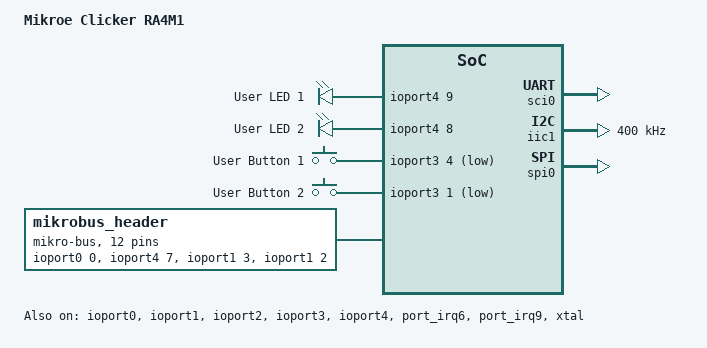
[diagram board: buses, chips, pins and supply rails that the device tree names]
/*
 * Copyright (c) 2024 Ian Morris
 *
 * SPDX-License-Identifier: Apache-2.0
 */

/dts-v1/;
#include <renesas/ra/ra4/r7fa4m1ab3cfm.dtsi>
#include <zephyr/dt-bindings/gpio/gpio.h>
#include <zephyr/dt-bindings/input/input-event-codes.h>

#include "mikroe_clicker_ra4m1-pinctrl.dtsi"

/ {
	model = "Mikroe Clicker RA4M1";
	compatible = "renesas,ra4m1", "renesas,ra";

	chosen {
		zephyr,console = &uart0;
		zephyr,shell-uart = &uart0;
		zephyr,sram = &sram0;
		zephyr,flash = &flash0;
	};

	leds {
		compatible = "gpio-leds";
		ld1: led_1 {
			gpios = <&ioport4 9 GPIO_ACTIVE_HIGH>;
			label = "User LED 1";
		};

		ld2: led_2 {
			gpios = <&ioport4 8 GPIO_ACTIVE_HIGH>;
			label = "User LED 2";
		};
	};

	buttons {
		compatible = "gpio-keys";
		btn1: button_1 {
			gpios = <&ioport3 4 GPIO_ACTIVE_LOW>;
			label = "User Button 1";
			zephyr,code = <INPUT_KEY_0>;
		};

		btn2: button_2 {
			gpios = <&ioport3 1 GPIO_ACTIVE_LOW>;
			label = "User Button 2";
			zephyr,code = <INPUT_KEY_1>;
		};
	};

	mikrobus_header: mikrobus-connector {
		compatible = "mikro-bus";
		#gpio-cells = <2>;
		gpio-map-mask = <0xffffffff 0xffffffc0>;
		gpio-map-pass-thru = <0 0x3f>;
		gpio-map =	<0 0 &ioport0 0 0>,	/* AN  */
				<1 0 &ioport4 7 0>,		/* RST */
				<2 0 &ioport1 3 0>,		/* CS   */
				<3 0 &ioport1 2 0>,		/* SCK  */
				<4 0 &ioport1 0 0>,		/* MISO */
				<5 0 &ioport1 1 0>,		/* MOSI */
							/* +3.3V */
							/* GND */
				<6 0 &ioport1 7 0>,		/* PWM  */
				<7 0 &ioport3 2 0>,		/* INT  */
				<8 0 &ioport4 10 0>,	/* RX   */
				<9 0 &ioport4 11 0>,	/* TX   */
				<10 0 &ioport2 5 0>,	/* SCL  */
				<11 0 &ioport2 6 0>;	/* SDA  */
							/* +5V */
							/* GND */
	};

	aliases {
		led0 = &ld1;
		led1 = &ld2;
		sw0 = &btn1;
		sw1 = &btn2;
	};
};

&sci0 {
	status = "okay";
	pinctrl-0 = <&sci0_default>;
	pinctrl-names = "default";
	uart0: uart {
		current-speed = <115200>;
		status = "okay";
	};
};

&iic1 {
	pinctrl-0 = <&iic1_default>;
	pinctrl-names = "default";
	#address-cells = <1>;
	#size-cells = <0>;
	clock-frequency = <DT_FREQ_K(400)>;
	interrupts = <10 1>, <11 1>, <12 1>, <13 1>;
	interrupt-names = "rxi", "txi", "tei", "eri";
	status = "okay";
};

&spi0 {
	pinctrl-0 = <&spi0_default>;
	pinctrl-names = "default";
	interrupts = <23 1>, <24 1>, <25 1>, <26 1>;
	interrupt-names = "rxi", "txi", "tei", "eri";
	status = "okay";
};

&ioport0 {
	status = "okay";
};

&ioport1 {
	status = "okay";
};

&ioport2 {
	status = "okay";
};

&ioport3 {
	status = "okay";
};

&ioport4 {
	status = "okay";
};

&port_irq6 {
	interrupts = <28 12>;
	status = "okay";
};

&port_irq9 {
	interrupts = <27 12>;
	status = "okay";
};

&xtal {
	status = "okay";
	clock-frequency = <12000000>;
};

&pclkblock {
	clocks = <&xtal>;
};

&iclk {
	clock-frequency = <12000000>;
	div = <1>;
};

&pclka {
	div = <1>;
};

&pclkb {
	div = <2>;
};

&pclkc {
	div = <1>;
};

&pclkd {
	div = <1>;
};

&fclk {
	div = <2>;
};

mikrobus_serial: &uart0 {};
mikrobus_i2c: &iic1 {};
mikrobus_spi: &spi0 {};
